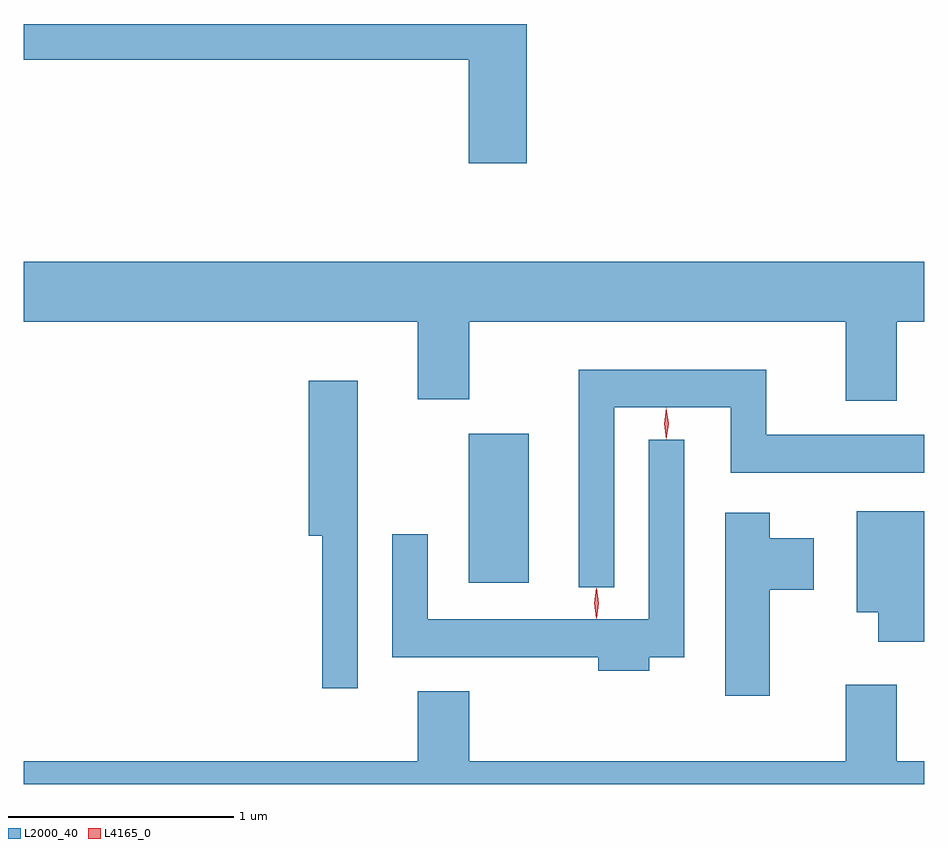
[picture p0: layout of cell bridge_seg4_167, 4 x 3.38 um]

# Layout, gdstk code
import gdstk
lib = gdstk.Library(unit=1e-6, precision=1e-09)
def R(c, l, rs):  # rectangles x0, y0, x1, y1
    for r in rs: c.add(gdstk.rectangle(r[:2], r[2:], *l))
def P(c, l, *ps):  # polygons
    for p in ps: c.add(gdstk.Polygon(p, *l))
L2000_40 = (2000, 40)
L4165_0 = (4165, 0)

bridge_seg4_167 = lib.new_cell('bridge_seg4_167')
R(bridge_seg4_167, L2000_40, [(944.536,1317.996,944.804,1318.659)])
P(bridge_seg4_167, L2000_40, [(944.794,1320.479),(942.56,1320.479),(942.56,1320.321),(944.536,1320.321),(944.536,1319.861),(944.794,1319.861)],
  [(942.56,1319.156),(944.311,1319.156),(944.311,1318.811),(944.539,1318.811),(944.539,1319.156),(946.211,1319.156),(946.211,1318.806),(946.439,1318.806),(946.439,1319.156),(946.56,1319.156),(946.56,1319.424),(942.56,1319.424)],
  [(945.184,1318.776),(945.701,1318.776),(945.701,1318.486),(946.56,1318.486),(946.56,1318.654),(945.859,1318.654),(945.859,1318.944),(945.026,1318.944),(945.026,1317.978),(945.184,1317.978)],
  [(944.044,1318.894),(943.826,1318.894),(943.826,1318.206),(943.886,1318.206),(943.886,1317.528),(944.044,1317.528)],
  [(945.339,1317.666),(945.494,1317.666),(945.494,1318.633),(945.336,1318.633),(945.336,1317.834),(944.354,1317.834),(944.354,1318.213),(944.196,1318.213),(944.196,1317.666),(945.111,1317.666),(945.111,1317.606),(945.339,1317.606)],
  [(946.56,1318.314),(946.261,1318.314),(946.261,1317.866),(946.356,1317.866),(946.356,1317.736),(946.56,1317.736)],
  [(945.874,1317.966),(946.069,1317.966),(946.069,1318.194),(945.874,1318.194),(945.874,1318.309),(945.676,1318.309),(945.676,1317.496),(945.874,1317.496)],
  [(946.56,1317.204),(946.439,1317.204),(946.439,1317.544),(946.211,1317.544),(946.211,1317.204),(944.539,1317.204),(944.539,1317.514),(944.311,1317.514),(944.311,1317.204),(942.56,1317.204),(942.56,1317.103),(946.56,1317.103)])
P(bridge_seg4_167, L4165_0, [(945.414,1318.634),(945.413,1318.635),(945.404,1318.704),(945.413,1318.773),(945.414,1318.774),(945.414,1318.773),(945.424,1318.704),(945.414,1318.635)],
  [(945.105,1317.839),(945.104,1317.84),(945.095,1317.906),(945.104,1317.972),(945.105,1317.973),(945.105,1317.972),(945.115,1317.906),(945.105,1317.84)])

lib.write_gds('bridge_seg4_167.gds')
